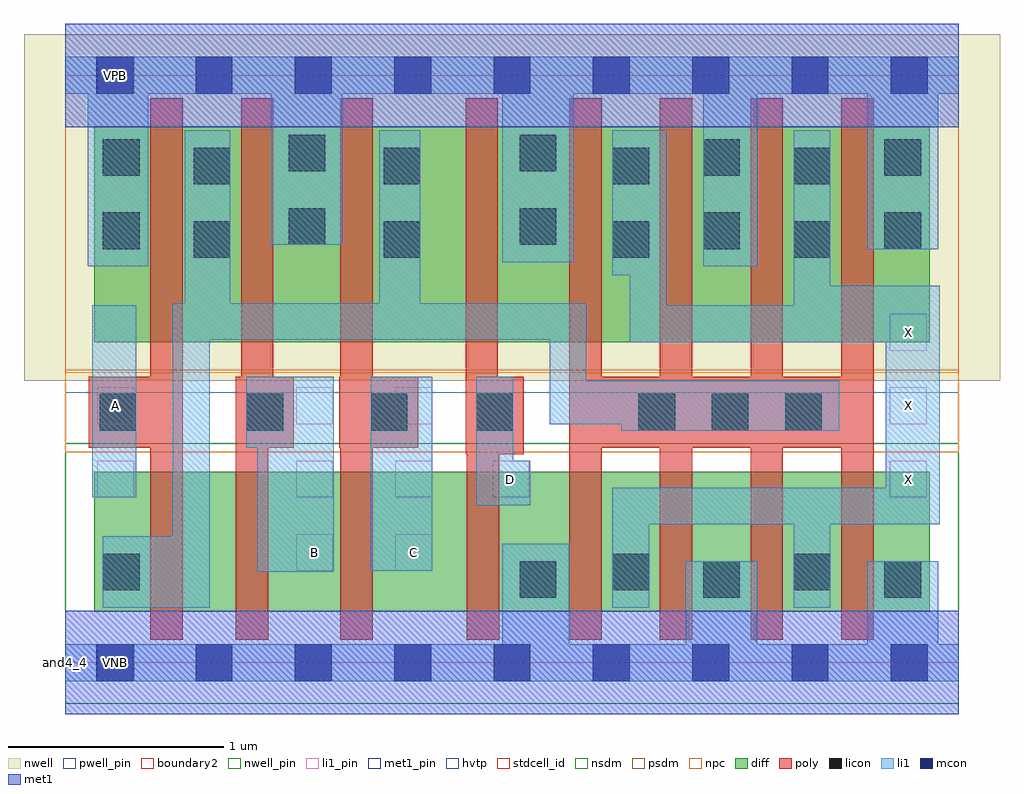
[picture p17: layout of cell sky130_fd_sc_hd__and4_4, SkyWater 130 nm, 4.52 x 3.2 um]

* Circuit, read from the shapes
.subckt sky130_fd_sc_hd__and4_4 A B C D VGND VNB VPB VPWR X
XM1 n1 A n2 VNB sky130_fd_pr__nfet_01v8 w=0.65 l=0.15
XM2 n3 B n1 VNB sky130_fd_pr__nfet_01v8 w=0.65 l=0.15
XM3 n4 C n3 VNB sky130_fd_pr__nfet_01v8 w=0.65 l=0.15
XM4 VGND D n4 VNB sky130_fd_pr__nfet_01v8 w=0.65 l=0.15
XM5 X n2 VGND VNB sky130_fd_pr__nfet_01v8 w=0.65 l=0.15 m=4
XM6 n2 A VPWR VPB sky130_fd_pr__pfet_01v8_hvt w=1 l=0.15
XM7 VPWR B n2 VPB sky130_fd_pr__pfet_01v8_hvt w=1 l=0.15
XM8 n2 C VPWR VPB sky130_fd_pr__pfet_01v8_hvt w=1 l=0.15
XM9 VPWR D n2 VPB sky130_fd_pr__pfet_01v8_hvt w=1 l=0.15
XM10 X n2 VPWR VPB sky130_fd_pr__pfet_01v8_hvt w=1 l=0.15 m=4
.ends

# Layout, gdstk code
import gdstk
lib = gdstk.Library(unit=1e-6, precision=1e-09)
def R(c, l, rs):  # rectangles x0, y0, x1, y1
    for r in rs: c.add(gdstk.rectangle(r[:2], r[2:], *l))
def A(c, l, x, y, w, h, nx, ny, dx, dy):  # array of equal rectangles
    R(c, l, [(x+i*dx, y+j*dy, x+i*dx+w, y+j*dy+h) for i in range(nx) for j in range(ny)])
def P(c, l, *ps):  # polygons
    for p in ps: c.add(gdstk.Polygon(p, *l))
nwell_pin = (64, 16)
nwell = (64, 20)
diff = (65, 20)
poly = (66, 20)
licon = (66, 44)
li1_pin = (67, 16)
li1 = (67, 20)
mcon = (67, 44)
met1_pin = (68, 16)
met1 = (68, 20)
hvtp = (78, 44)
stdcell_id = (81, 4)
nsdm = (93, 44)
psdm = (94, 20)
npc = (95, 20)
pwell_pin = (122, 16)
boundary2 = (236, 0)

sky130_fd_sc_hd__and4_4 = lib.new_cell('sky130_fd_sc_hd__and4_4')
R(sky130_fd_sc_hd__and4_4, nwell_pin, [(0.15,2.635,0.32,2.805)])
R(sky130_fd_sc_hd__and4_4, nwell, [(-0.19,1.305,4.33,2.91)])
R(sky130_fd_sc_hd__and4_4, diff, [(0.135,0.235,4.005,0.885), (0.135,1.485,4.005,2.485)])
P(sky130_fd_sc_hd__and4_4, poly, [(3.745,2.615),(3.595,2.615),(3.595,1.325),(3.325,1.325),(3.325,2.615),(3.175,2.615),(3.175,1.325),(2.905,1.325),(2.905,2.615),(2.755,2.615),(2.755,1.325),(2.485,1.325),(2.485,2.615),(2.335,2.615),(2.335,0.105),(2.485,0.105),(2.485,0.995),(2.755,0.995),(2.755,0.105),(2.905,0.105),(2.905,0.995),(3.175,0.995),(3.175,0.105),(3.325,0.105),(3.325,0.995),(3.595,0.995),(3.595,0.105),(3.745,0.105)],
  [(2.125,1.325),(2.005,1.325),(2.005,2.615),(1.855,2.615),(1.855,0.965),(1.86,0.965),(1.86,0.105),(2.01,0.105),(2.01,0.965),(2.125,0.965)],
  [(1.635,1.325),(1.425,1.325),(1.425,2.615),(1.275,2.615),(1.275,1.325),(1.27,1.325),(1.27,0.995),(1.275,0.995),(1.275,0.105),(1.425,0.105),(1.425,0.995),(1.635,0.995)],
  [(0.545,2.615),(0.395,2.615),(0.395,1.325),(0.11,1.325),(0.11,0.995),(0.395,0.995),(0.395,0.105),(0.545,0.105)],
  [(1.06,1.325),(0.965,1.325),(0.965,2.615),(0.815,2.615),(0.815,1.325),(0.79,1.325),(0.79,0.105),(0.94,0.105),(0.94,0.995),(1.06,0.995)])
A(sky130_fd_sc_hd__and4_4, licon, 2.655, 1.075, 0.17, 0.17, 3, 1, 0.34, 0)
R(sky130_fd_sc_hd__and4_4, licon, [(2.105,0.3,2.275,0.47), (2.955,0.3,3.125,0.47), (3.795,0.3,3.965,0.47), (0.175,0.335,0.345,0.505), (2.535,0.335,2.705,0.505), (3.375,0.335,3.545,0.505), (0.16,1.075,0.33,1.245), (0.84,1.075,1.01,1.245), (1.415,1.075,1.585,1.245), (1.905,1.075,2.075,1.245), (0.595,1.875,0.765,2.045), (1.475,1.875,1.645,2.045), (2.535,1.875,2.705,2.045), (3.375,1.875,3.545,2.045), (0.175,1.915,0.345,2.085), (2.955,1.915,3.125,2.085), (3.795,1.915,3.965,2.085), (1.035,1.935,1.205,2.105), (2.105,1.935,2.275,2.105), (0.595,2.215,0.765,2.385), (1.475,2.215,1.645,2.385), (2.535,2.215,2.705,2.385), (3.375,2.215,3.545,2.385), (0.175,2.255,0.345,2.425), (2.955,2.255,3.125,2.425), (3.795,2.255,3.965,2.425), (1.035,2.275,1.205,2.445), (2.105,2.275,2.275,2.445)])
A(sky130_fd_sc_hd__and4_4, li1_pin, 1.07, 0.425, 0.17, 0.17, 1, 3, 0, 0.34)
A(sky130_fd_sc_hd__and4_4, li1_pin, 1.53, 0.425, 0.17, 0.17, 1, 3, 0, 0.34)
A(sky130_fd_sc_hd__and4_4, li1_pin, 3.82, 0.765, 0.17, 0.17, 1, 3, 0, 0.34)
R(sky130_fd_sc_hd__and4_4, li1_pin, [(0.15,0.765,0.32,0.935), (1.98,0.765,2.15,0.935), (0.15,1.105,0.32,1.275)])
R(sky130_fd_sc_hd__and4_4, li1, [(1.415,0.425,1.7,1.325), (0.125,0.765,0.33,1.655)])
P(sky130_fd_sc_hd__and4_4, li1, [(2.155,0.935),(2.075,0.935),(2.075,1.325),(1.905,1.325),(1.905,0.73),(2.155,0.73)],
  [(1.245,1.325),(0.84,1.325),(0.84,0.995),(0.89,0.995),(0.89,0.42),(1.245,0.42)],
  [(3.585,1.305),(2.415,1.305),(2.415,1.665),(1.645,1.665),(1.645,2.465),(1.455,2.465),(1.455,1.665),(0.765,1.665),(0.765,2.465),(0.555,2.465),(0.555,1.665),(0.5,1.665),(0.5,0.585),(0.175,0.585),(0.175,0.255),(0.67,0.255),(0.67,1.495),(2.245,1.495),(2.245,1.105),(2.575,1.105),(2.575,1.075),(3.585,1.075)],
  [(4.14,2.805),(0,2.805),(0,2.635),(0.105,2.635),(0.105,1.835),(0.385,1.835),(0.385,2.635),(0.955,2.635),(0.955,1.935),(1.285,1.935),(1.285,2.635),(2.025,2.635),(2.025,1.855),(2.355,1.855),(2.355,2.635),(2.955,2.635),(2.955,1.835),(3.205,1.835),(3.205,2.635),(3.715,2.635),(3.715,1.915),(4.045,1.915),(4.045,2.635),(4.14,2.635)],
  [(4.14,0.085),(4.045,0.085),(4.045,0.47),(3.715,0.47),(3.715,0.085),(3.205,0.085),(3.205,0.47),(2.875,0.47),(2.875,0.085),(2.335,0.085),(2.335,0.55),(2.025,0.55),(2.025,0.085),(0,0.085),(0,-0.085),(4.14,-0.085)],
  [(4.05,1.745),(3.545,1.745),(3.545,2.465),(3.375,2.465),(3.375,1.655),(2.785,1.655),(2.785,2.465),(2.535,2.465),(2.535,1.795),(2.615,1.795),(2.615,1.485),(3.8,1.485),(3.8,0.81),(2.535,0.81),(2.535,0.255),(2.705,0.255),(2.705,0.64),(3.375,0.64),(3.375,0.255),(3.545,0.255),(3.545,0.64),(4.05,0.64)])
A(sky130_fd_sc_hd__and4_4, mcon, 0.145, -0.085, 0.17, 0.17, 9, 2, 0.46, 2.72)
R(sky130_fd_sc_hd__and4_4, met1_pin, [(0.15,-0.085,0.32,0.085), (0.15,2.635,0.32,2.805)])
R(sky130_fd_sc_hd__and4_4, hvtp, [(0,1.25,4.14,2.72)])
R(sky130_fd_sc_hd__and4_4, stdcell_id, [(0,0,4.14,2.72)])
R(sky130_fd_sc_hd__and4_4, nsdm, [(0,-0.19,4.14,1.015)])
R(sky130_fd_sc_hd__and4_4, psdm, [(0,1.355,4.14,2.91)])
R(sky130_fd_sc_hd__and4_4, npc, [(0,0.975,4.14,1.345)])
R(sky130_fd_sc_hd__and4_4, pwell_pin, [(0.15,-0.085,0.32,0.085)])
R(sky130_fd_sc_hd__and4_4, boundary2, [(0,0,4.14,2.72)])
sky130_fd_sc_hd__and4_4.add(gdstk.FlexPath([(0,2.72),(4.14,2.72)], 0.48, ends="flush", simple_path=True, layer=68, datatype=20))  # met1
sky130_fd_sc_hd__and4_4.add(gdstk.FlexPath([(0,0),(4.14,0)], 0.48, ends="flush", simple_path=True, layer=68, datatype=20))  # met1
sky130_fd_sc_hd__and4_4.add(gdstk.Label('X', (3.905,0.85), layer=67, texttype=5))
sky130_fd_sc_hd__and4_4.add(gdstk.Label('X', (3.905,1.19), layer=67, texttype=5))
sky130_fd_sc_hd__and4_4.add(gdstk.Label('C', (1.615,0.51), layer=67, texttype=5))
sky130_fd_sc_hd__and4_4.add(gdstk.Label('A', (0.235,1.19), layer=67, texttype=5))
sky130_fd_sc_hd__and4_4.add(gdstk.Label('B', (1.155,0.51), layer=67, texttype=5))
sky130_fd_sc_hd__and4_4.add(gdstk.Label('D', (2.065,0.85), layer=67, texttype=5))
sky130_fd_sc_hd__and4_4.add(gdstk.Label('X', (3.905,1.53), layer=67, texttype=5))
sky130_fd_sc_hd__and4_4.add(gdstk.Label('VNB', (0.235,0), layer=64, texttype=59))
sky130_fd_sc_hd__and4_4.add(gdstk.Label('VPB', (0.235,2.72), layer=64, texttype=5))
sky130_fd_sc_hd__and4_4.add(gdstk.Label('VGND', (0.23,0), layer=68, texttype=5))
sky130_fd_sc_hd__and4_4.add(gdstk.Label('VPWR', (0.23,2.72), layer=68, texttype=5))
sky130_fd_sc_hd__and4_4.add(gdstk.Label('and4_4', (0,0), layer=83, texttype=44))

lib.write_gds('sky130_fd_sc_hd__and4_4.gds')
